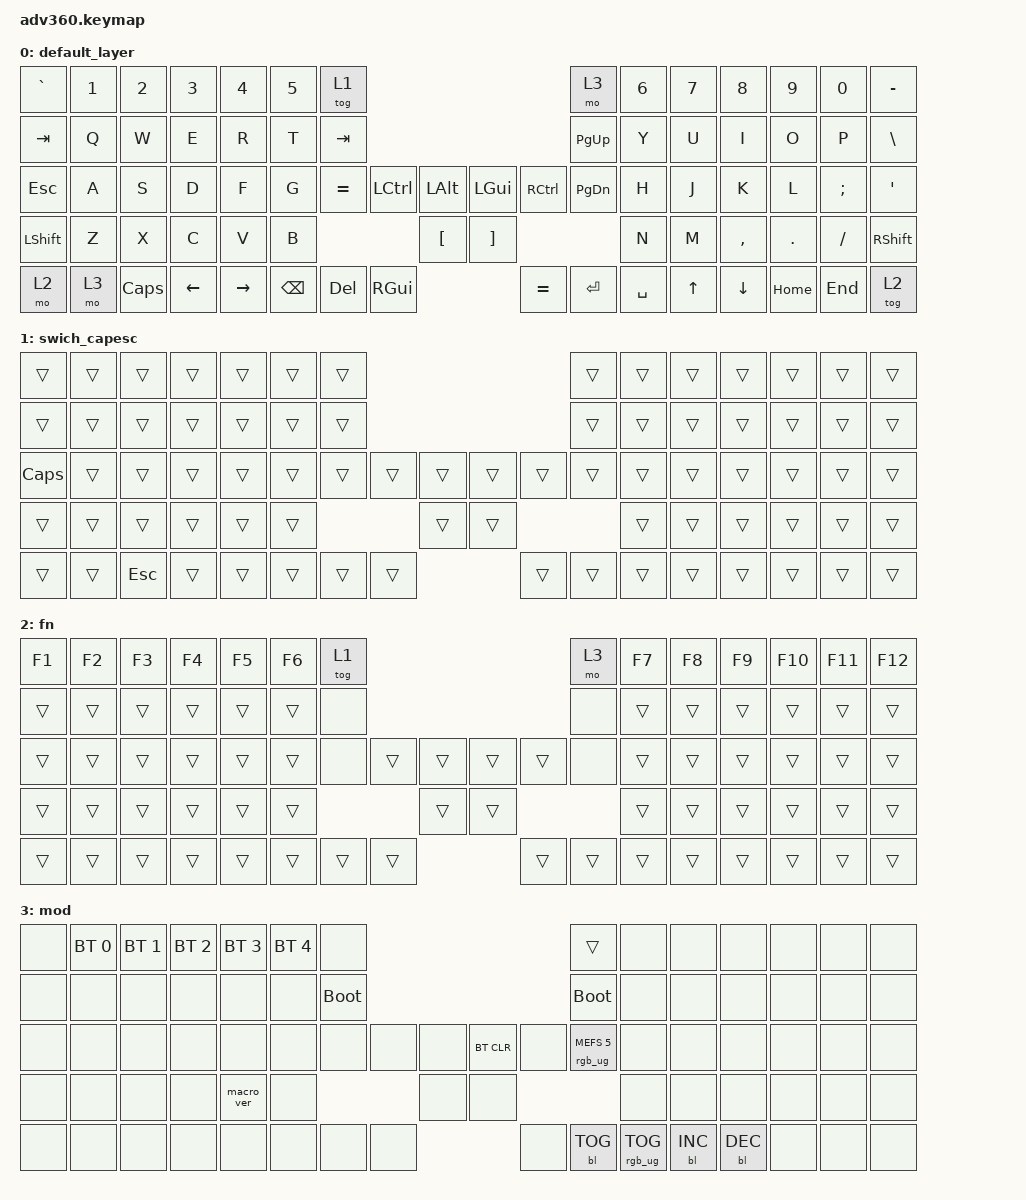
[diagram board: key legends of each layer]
#include <behaviors.dtsi>
#include <dt-bindings/zmk/keys.h>
#include <dt-bindings/zmk/bt.h>
#include <dt-bindings/zmk/rgb.h>
#include <dt-bindings/zmk/backlight.h>

/ {
    behaviors {
      #include "macros.dtsi"
      #include "version.dtsi"
      #ifndef VERSION_MACRO
      macro_ver: macro_ver {
        compatible = "zmk,behavior-macro";
        label = "macro_version";
        #binding-cells = <0>;
        bindings = <&kp RET>;
      };
      #endif

      hm: homerow_mods {
          compatible = "zmk,behavior-hold-tap";
          label = "HOMEROW_MODS";
          #binding-cells = <2>;
          tapping-term-ms = <200>;
          quick_tap_ms = <175>;
          flavor = "tap-preferred";
          bindings = <&kp>, <&kp>;
      };
    };

  keymap {
    compatible = "zmk,keymap";

    default_layer {
      bindings = <
        &kp GRAVE &kp N1    &kp N2   &kp N3   &kp N4     &kp N5 &tog 1                                                   &mo 3     &kp N6 &kp N7 &kp N8    &kp N9   &kp N0   &kp MINUS
        &kp TAB   &kp Q     &kp W    &kp E    &kp R      &kp T  &kp TAB                                                  &kp PG_UP &kp Y  &kp U  &kp I     &kp O    &kp P    &kp BSLH
        &kp ESC   &kp A     &kp S    &kp D    &kp F      &kp G  &kp EQUAL     &kp LCTRL &kp LALT &kp LGUI  &kp RCTRL     &kp PG_DN &kp H  &kp J  &kp K     &kp L    &kp SEMI &kp SQT
        &kp LSHFT &kp Z     &kp X    &kp C    &kp V      &kp B                          &kp LBKT &kp RBKT                          &kp N  &kp M  &kp COMMA &kp DOT  &kp FSLH &kp RSHFT
        &mo 2     &mo 3     &kp CAPS &kp LEFT &kp RIGHT                &kp BSPC &kp DEL &kp RGUI &kp EQUAL &kp ENTER &kp SPACE            &kp UP &kp DOWN  &kp HOME &kp END  &tog 2
      >;
    };
    swich_capesc {
      bindings = <
        &trans    &trans   &trans   &trans  &trans  &trans  &trans                                     &trans  &trans  &trans  &trans  &trans  &trans  &trans
        &trans    &trans   &trans   &trans  &trans  &trans  &trans                                     &trans  &trans  &trans  &trans  &trans  &trans  &trans
        &kp CAPS  &trans   &trans   &trans  &trans  &trans  &trans    &trans  &trans &trans  &trans    &trans  &trans  &trans  &trans  &trans  &trans  &trans
        &trans    &trans   &trans   &trans  &trans  &trans                    &trans &trans                    &trans  &trans  &trans  &trans  &trans  &trans
        &trans    &trans   &kp ESC  &trans  &trans            &trans  &trans  &trans &trans  &trans  &trans            &trans  &trans  &trans  &trans  &trans
      >;
    };
    fn {
      bindings = <
        &kp F1 &kp F2 &kp F3 &kp F4 &kp F5 &kp F6 &tog 1                                           &mo 3 &kp F7 &kp F8 &kp F9 &kp F10 &kp F11 &kp F12
        &trans &trans &trans &trans &trans &trans  &none                                           &none &trans &trans &trans &trans  &trans  &trans
        &trans &trans &trans &trans &trans &trans  &none        &trans &trans &trans &trans        &none &trans &trans &trans &trans  &trans  &trans
        &trans &trans &trans &trans &trans &trans                      &trans &trans                     &trans &trans &trans &trans  &trans  &trans
        &trans &trans &trans &trans &trans               &trans &trans &trans &trans &trans &trans              &trans &trans &trans  &trans  &trans
      >;
    };
    mod {
      bindings = <
        &none &bt BT_SEL 0 &bt BT_SEL 1 &bt BT_SEL 2 &bt BT_SEL 3 &bt BT_SEL 4 &none                                                                     &trans                 &none        &none        &none        &none &none &none
        &none &none        &none        &none        &none        &none        &bootloader                                                               &bootloader            &none        &none        &none        &none &none &none
        &none &none        &none        &none        &none        &none        &none                   &none &none &bt BT_CLR &none                      &rgb_ug RGB_MEFS_CMD 5 &none        &none        &none        &none &none &none
        &none &none        &none        &none        &macro_ver   &none                                      &none &none                                                        &none        &none        &none        &none &none &none
        &none &none        &none        &none        &none                                       &none &none &none &none      &bl BL_TOG &rgb_ug RGB_TOG                                     &bl BL_INC   &bl BL_DEC   &none &none &none
      >;
    };
  };
};
